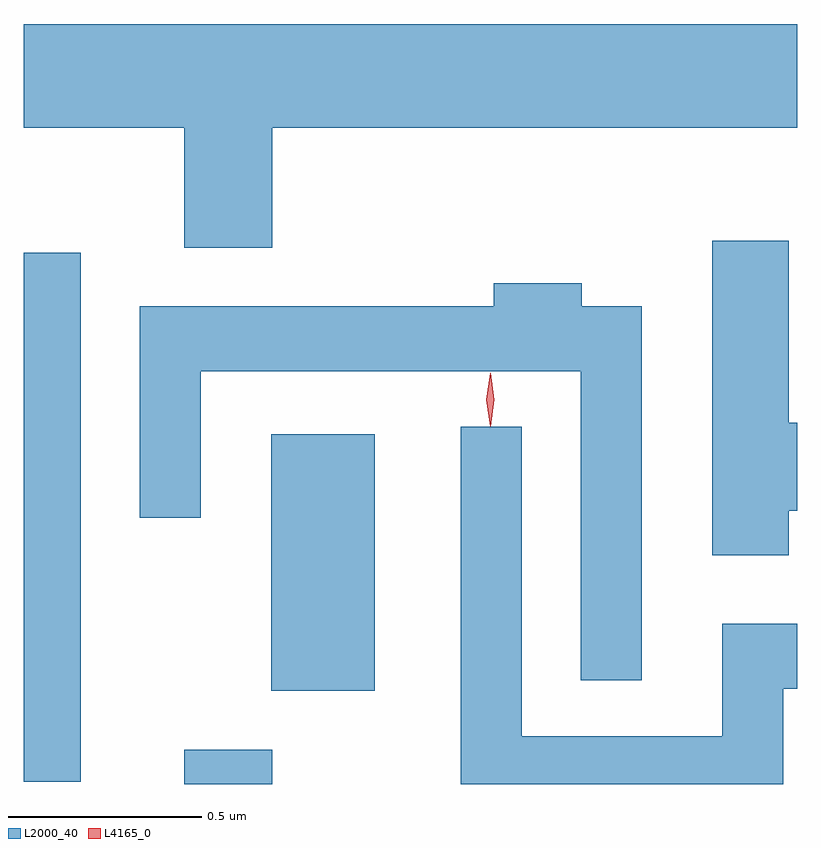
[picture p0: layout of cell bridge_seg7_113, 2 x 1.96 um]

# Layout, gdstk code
import gdstk
lib = gdstk.Library(unit=1e-6, precision=1e-09)
def R(c, l, rs):  # rectangles x0, y0, x1, y1
    for r in rs: c.add(gdstk.rectangle(r[:2], r[2:], *l))
def P(c, l, *ps):  # polygons
    for p in ps: c.add(gdstk.Polygon(p, *l))
L2000_40 = (2000, 40)
L4165_0 = (4165, 0)

bridge_seg7_113 = lib.new_cell('bridge_seg7_113')
R(bridge_seg7_113, L2000_40, [(1507.821,1768.12,1508.049,1768.209), (1507.406,1768.126,1507.554,1769.493), (1508.046,1768.361,1508.314,1769.024)])
P(bridge_seg7_113, L2000_40, [(1508.049,1769.816),(1509.406,1769.816),(1509.406,1770.084),(1507.406,1770.084),(1507.406,1769.816),(1507.821,1769.816),(1507.821,1769.506),(1508.049,1769.506)],
  [(1509.384,1768.826),(1509.406,1768.826),(1509.406,1769.054),(1509.384,1769.054),(1509.384,1769.524),(1509.186,1769.524),(1509.186,1768.711),(1509.384,1768.711)],
  [(1509.004,1769.354),(1508.849,1769.354),(1508.849,1769.414),(1508.621,1769.414),(1508.621,1769.354),(1507.706,1769.354),(1507.706,1768.808),(1507.864,1768.808),(1507.864,1769.186),(1508.846,1769.186),(1508.846,1768.388),(1509.004,1768.388)],
  [(1509.369,1768.366),(1509.406,1768.366),(1509.406,1768.534),(1509.211,1768.534),(1509.211,1768.244),(1508.694,1768.244),(1508.694,1769.043),(1508.536,1769.043),(1508.536,1768.12),(1509.369,1768.12)])
P(bridge_seg7_113, L4165_0, [(1508.612,1769.043),(1508.612,1769.044),(1508.602,1769.113),(1508.612,1769.182),(1508.612,1769.183),(1508.613,1769.182),(1508.622,1769.113),(1508.613,1769.044)])

lib.write_gds('bridge_seg7_113.gds')
